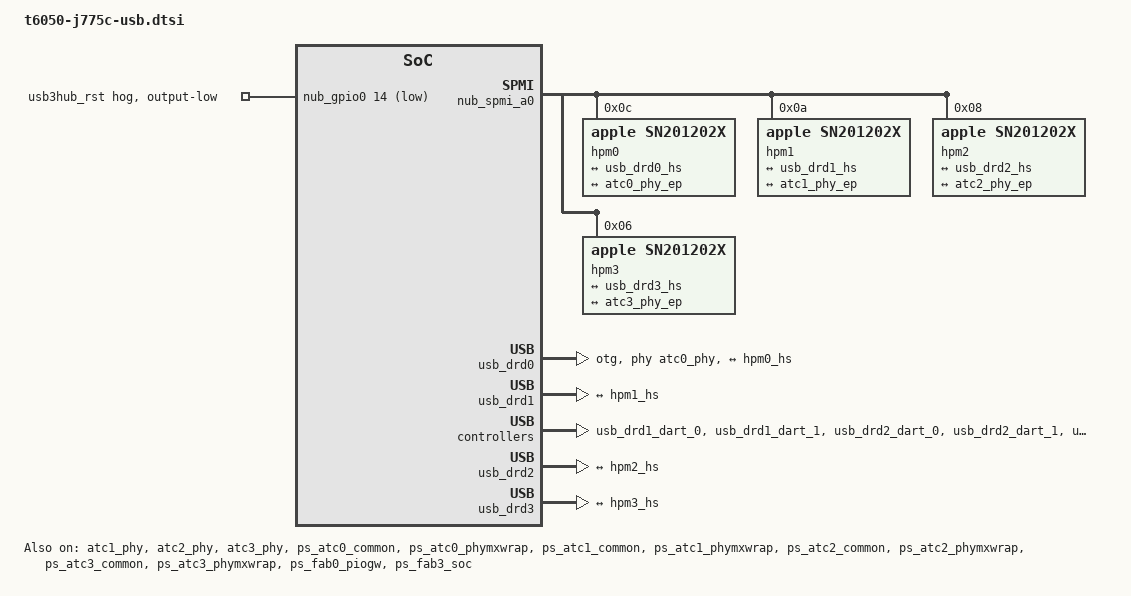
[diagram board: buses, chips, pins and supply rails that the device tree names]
// SPDX-License-Identifier: GPL-2.0+ OR MIT
/* J775c rear USB ports; port 0 releases the firmware debug link. */
/delete-node/ &acio_phy_cpu0;
&{/soc@200000000}  {
	atc0_phy_mbox: mailbox@2a3148000  {
		compatible = "apple,t6050-asc-mailbox", "apple,asc-mailbox-v4";
		reg = <0x2 0xa3148000 0x0 0x4000>;
		interrupts = <AIC_IRQ 0 841 IRQ_TYPE_LEVEL_HIGH>,
			<AIC_IRQ 0 842 IRQ_TYPE_LEVEL_HIGH>,
			<AIC_IRQ 0 843 IRQ_TYPE_LEVEL_HIGH>,
			<AIC_IRQ 0 844 IRQ_TYPE_LEVEL_HIGH>;
		interrupt-names = "send-empty", "send-not-empty", "recv-empty", "recv-not-empty";
		#mbox-cells = <0>;
	};
	atc0_phy: phy@2a3000000  {
		compatible = "apple,t6050-combo-phy";
		reg = <0x2 0xa3000000 0x0 0x2c000>,
			<0x2 0xa2a90000 0x0 0x4000>,
			<0x2 0xa2800000 0x0 0x4000>,
			<0x2 0xa3200000 0x0 0x4000>,
			<0x2 0xa3244000 0x0 0x4000>,
			<0x2 0xa0000000 0x0 0x8000>,
			<0x2 0xa0020000 0x0 0x4000>,
			<0x2 0xa3250000 0x0 0x4000>,
			<0x2 0xa3140000 0x0 0x4000>,
			<0x2 0xa30c0000 0x0 0x10000>,
			<0x2 0xa2a84000 0x0 0x4000>;
		reg-names = "core", "usb2phy", "usb2-digital", "reset", "fabric", "axi2af", "lioa",
			"common-cfg", "usb-control", "firmware-data", "pipehandler";
		#phy-cells = <1>;
		#reset-cells = <1>;
		apple,port-index = <0>;
		/* The DFU cable's debug link is no longer used on J775c: port 0 is ordinary. */
		apple,guest-port-reserved;
		mode-switch;
		orientation-switch;
		mboxes = <&atc0_phy_mbox>;
		power-domains = <&ps_atc0_usb_aon>, <&ps_atc0_common>, <&ps_atc0_phymxwrap>,
			<&ps_atc0_usb>;
		power-domain-names = "usb-aon", "common", "wrapper", "usb";
		port  {
			atc0_phy_ep: endpoint  {
				remote-endpoint = <&hpm0_ss>;
			};
		};
	};
};
&nub_gpio0  {
	gpio-controller;
	#gpio-cells = <2>;
	gpio-ranges = <&nub_gpio0 0 0 61>;
	apple,npins = <61>;
	interrupt-controller;
	#interrupt-cells = <2>;
	status = "okay";
	gpio-reserved-ranges = <0 14>, <15 46>;
	usb3hub-rst-hog  {
		gpio-hog;
		gpios = <14 GPIO_ACTIVE_LOW>;
		output-low;
		line-name = "usb3hub_rst";
	};
};
&nub_spmi_a0  {
	status = "okay";
	/*
	 * /arm-io/nub-spmi-a0/hpm0: SN201202x (ACE3), SPMI address 0xc, port-number 1 (back-right):
	 * the DFU port. Bring-up kept it disabled for the DFU cable's host-side VDM reboot path and
	 * the debug console (KIS); a smart plug now covers power-cycles, and full parity needs the
	 * port. While Linux runs, this driver owns the controller, as on other Apple machines.
	 */
	hpm0: usb-pd@c  {
		compatible = "apple,sn201202x";
		reg = <0xc SPMI_USID>;
		connector  {
			compatible = "usb-c-connector";
			label = "USB-C Back-right";
			power-role = "dual";
			data-role = "host";
			ports  {
				#address-cells = <1>;
				#size-cells = <0>;
				port@0  {
					reg = <0>;
					hpm0_hs: endpoint  {
						remote-endpoint = <&usb_drd0_hs>;
					};
				};
				port@1  {
					reg = <1>;
					hpm0_ss: endpoint  {
						remote-endpoint = <&atc0_phy_ep>;
					};
				};
			};
		};
	};
	/* /arm-io/nub-spmi-a0/hpm1: SN201202x (ACE3), SPMI address 0xa, port-number 2 */
	hpm1: usb-pd@a  {
		compatible = "apple,sn201202x";
		reg = <0xa SPMI_USID>;
		connector  {
			compatible = "usb-c-connector";
			label = "USB-C Back-right-middle";
			power-role = "dual";
			data-role = "host";
			ports  {
				#address-cells = <1>;
				#size-cells = <0>;
				port@0  {
					reg = <0>;
					hpm1_hs: endpoint  {
						remote-endpoint = <&usb_drd1_hs>;
					};
				};
				port@1  {
					reg = <1>;
					hpm1_ss: endpoint  {
						remote-endpoint = <&atc1_phy_ep>;
					};
				};
			};
		};
	};
	/* /arm-io/nub-spmi-a0/hpm2: SN201202x (ACE3), SPMI address 8, port-number 3 */
	hpm2: usb-pd@8  {
		compatible = "apple,sn201202x";
		reg = <0x8 SPMI_USID>;
		status = "okay";
		connector  {
			compatible = "usb-c-connector";
			label = "USB-C Back-left-middle";
			power-role = "dual";
			data-role = "dual";
			ports  {
				#address-cells = <1>;
				#size-cells = <0>;
				port@0  {
					reg = <0>;
					hpm2_hs: endpoint  {
						remote-endpoint = <&usb_drd2_hs>;
					};
				};
				port@1  {
					reg = <1>;
					hpm2_ss: endpoint  {
						remote-endpoint = <&atc2_phy_ep>;
					};
				};
			};
		};
	};
	/* /arm-io/nub-spmi-a0/hpm3: SN201202x (ACE3), SPMI address 6, port-number 4 */
	hpm3: usb-pd@6  {
		compatible = "apple,sn201202x";
		reg = <0x6 SPMI_USID>;
		connector  {
			compatible = "usb-c-connector";
			label = "USB-C Back-left";
			power-role = "dual";
			data-role = "host";
			ports  {
				#address-cells = <1>;
				#size-cells = <0>;
				port@0  {
					reg = <0>;
					hpm3_hs: endpoint  {
						remote-endpoint = <&usb_drd3_hs>;
					};
				};
				port@1  {
					reg = <1>;
					hpm3_ss: endpoint  {
						remote-endpoint = <&atc3_phy_ep>;
					};
				};
			};
		};
	};
};
&usb_drd0  {
	compatible = "apple,t6050-dwc3", "apple,t8103-dwc3";
	reg = <0x2 0xa2280000 0x0 0xcd00>,
		<0x2 0xa228cd00 0x0 0x4b00>,
		<0x2 0xa2200000 0x0 0x4000>;
	reg-names = "dwc3-core", "dwc3-apple", "drd-cfg";
	interrupts = <AIC_IRQ 0 1419 IRQ_TYPE_LEVEL_HIGH>;
	dr_mode = "otg";
	usb-role-switch;
	role-switch-default-mode = "host";
	iommus = <&usb0_dart 0>, <&usb0_dart1 1>;
	power-domains = <&ps_atc0_usb>;
	resets = <&atc0_phy 0>;
	phys = <&atc0_phy PHY_TYPE_USB2>, <&atc0_phy PHY_TYPE_USB3>;
	phy-names = "usb2-phy", "usb3-phy";
	apple,tunable-gbl-default = <0x64 0x2 0x0>, <0x10 0xfff80000 0x00680000>;
	apple,tunable-gbl-host = <0x4 0x0001ef00 0x00002f00>, <0x1c 0x00000100 0x0>,
		<0x2c 0x000a07ff 0x000800c8>, <0x100 0x02000100 0x02000100>,
		<0x504 0x00001000 0x0>, <0x528 0xff0000ff 0x06000006>,
		<0x52c 0xff0000ff 0x08000008>, <0x580 0xffffffff 0x6f000006>,
		<0x584 0xffffffff 0x00060000>;
	apple,tunable-dbg = <0x0 0x8 0x8>;
	apple,tunable-cfg-host = <0x20 0xff 0x1b>;
	apple,tunable-link = <0x10 0xff000000 0xff000000>, <0x20 0x7ff00000 0x4e900000>,
		<0x24 0x001f8000 0x000b8000>, <0x60 0x0003ffff 0x00000600>;
	apple,tunable-cio = <0x20 0x00ff0000 0x001e0000>;
	port  {
		usb_drd0_hs: endpoint  {
			remote-endpoint = <&hpm0_hs>;
		};
	};
};
&usb_drd0  {
	status = "okay";
};
&atc1_phy  {
	status = "okay";
	port  {
		atc1_phy_ep: endpoint  {
			remote-endpoint = <&hpm1_ss>;
		};
	};
};
&usb_drd1  {
	status = "okay";
	port  {
		usb_drd1_hs: endpoint  {
			remote-endpoint = <&hpm1_hs>;
		};
	};
};
&atc1_phy_mbox  {
	status = "okay";
};
&usb_drd1_dart_0  {
	status = "okay";
};
&usb_drd1_dart_1  {
	status = "okay";
};
&atc2_phy  {
	status = "okay";
	port  {
		atc2_phy_ep: endpoint  {
			remote-endpoint = <&hpm2_ss>;
		};
	};
};
&usb_drd2  {
	status = "okay";
	port  {
		usb_drd2_hs: endpoint  {
			remote-endpoint = <&hpm2_hs>;
		};
	};
};
&atc2_phy_mbox  {
	status = "okay";
};
&usb_drd2_dart_0  {
	status = "okay";
};
&usb_drd2_dart_1  {
	status = "okay";
};
&atc3_phy  {
	status = "okay";
	port  {
		atc3_phy_ep: endpoint  {
			remote-endpoint = <&hpm3_ss>;
		};
	};
};
&usb_drd3  {
	status = "okay";
	port  {
		usb_drd3_hs: endpoint  {
			remote-endpoint = <&hpm3_hs>;
		};
	};
};
&atc3_phy_mbox  {
	status = "okay";
};
&usb_drd3_dart_0  {
	status = "okay";
};
&usb_drd3_dart_1  {
	status = "okay";
};
&ps_atc0_common  {
	status = "okay";
};
&ps_atc0_usb_aon  {
	status = "okay";
};
&ps_atc0_phymxwrap  {
	status = "okay";
};
&ps_atc0_usb  {
	status = "okay";
};
&ps_atc1_common  {
	status = "okay";
};
&ps_atc1_usb_aon  {
	status = "okay";
};
&ps_atc1_phymxwrap  {
	status = "okay";
};
&ps_atc1_usb  {
	status = "okay";
};
&ps_atc2_common  {
	status = "okay";
};
&ps_atc2_usb_aon  {
	status = "okay";
};
&ps_atc2_phymxwrap  {
	status = "okay";
};
&ps_atc2_usb  {
	status = "okay";
};
&ps_atc3_common  {
	status = "okay";
};
&ps_atc3_usb_aon  {
	status = "okay";
};
&ps_atc3_phymxwrap  {
	status = "okay";
};
&ps_atc3_usb  {
	status = "okay";
};
&usb0_dart  {
	status = "okay";
};
&usb0_dart1  {
	status = "okay";
};
/  {
	aliases  {
		atcphy0 = &atc0_phy;
		atcphy1 = &atc1_phy;
		atcphy2 = &atc2_phy;
		atcphy3 = &atc3_phy;
	};
};

/* ATC0 USB/PHY wrapper suppliers, disabled in the shared inventory. */
&ps_fab0_piogw {
	status = "okay";
};

&ps_fab3_soc {
	status = "okay";
};
